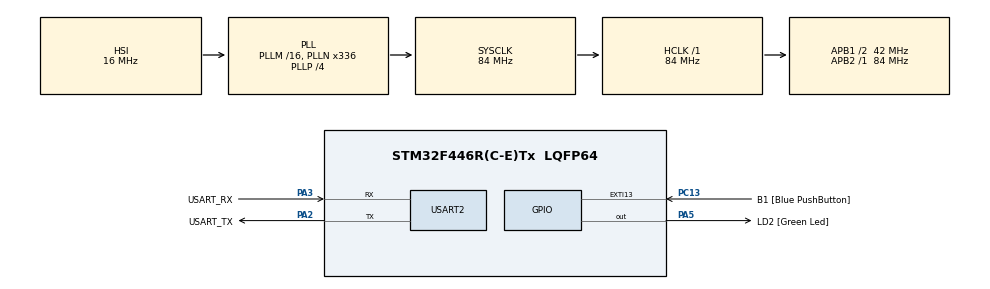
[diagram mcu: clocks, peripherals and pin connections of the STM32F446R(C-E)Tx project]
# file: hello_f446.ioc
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Mcu.Family=STM32F4
Mcu.Name=STM32F446R(C-E)Tx
Mcu.Package=LQFP64
NVIC.EXTI15_10_IRQn=true\:6\:0\:true\:false\:true\:true\:true\:true
NVIC.PriorityGroup=NVIC_PRIORITYGROUP_4
PA13.GPIO_Label=TMS
PA13.Signal=SYS_JTMS-SWDIO
PA14.GPIO_Label=TCK
PA14.Signal=SYS_JTCK-SWCLK
PA2.GPIO_Label=USART_TX
PA2.Mode=Asynchronous
PA2.Signal=USART2_TX
PA3.GPIO_Label=USART_RX
PA3.Mode=Asynchronous
PA3.Signal=USART2_RX
PA5.GPIO_Label=LD2 [Green Led]
PA5.Signal=GPIO_Output
PB3.GPIO_Label=SWO
PB3.Signal=SYS_JTDO-SWO
PC13.GPIO_Label=B1 [Blue PushButton]
PC13.GPIO_ModeDefaultEXTI=GPIO_MODE_IT_FALLING
PC13.Signal=GPXTI13
PC14-OSC32_IN.Signal=RCC_OSC32_IN
PC15-OSC32_OUT.Signal=RCC_OSC32_OUT
PH0-OSC_IN.Signal=RCC_OSC_IN
PH1-OSC_OUT.Signal=RCC_OSC_OUT
ProjectManager.HeapSize=0x200
ProjectManager.StackSize=0x400
ProjectManager.TargetToolchain=STM32CubeIDE
RCC.AHBFreq_Value=84000000
RCC.APB1CLKDivider=RCC_HCLK_DIV2
RCC.APB1Freq_Value=42000000
RCC.APB1TimFreq_Value=84000000
RCC.APB2Freq_Value=84000000
RCC.APB2TimFreq_Value=84000000
RCC.CortexFreq_Value=84000000
RCC.FLatency-AdvancedSettings=FLASH_LATENCY_2
RCC.HCLKFreq_Value=84000000
RCC.HSE_VALUE=8000000
RCC.HSI_VALUE=16000000
RCC.LSE_VALUE=32768
RCC.PLLN=336
RCC.PLLP=RCC_PLLP_DIV4
RCC.SYSCLKFreq_VALUE=84000000
RCC.SYSCLKSource=RCC_SYSCLKSOURCE_PLLCLK
RCC.USBFreq_Value=168000000
RCC.VCOOutputFreq_Value=336000000
USART2.VirtualMode=VM_ASYNC
board=NUCLEO-F446RE

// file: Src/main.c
/* USER CODE BEGIN Header */
/**
  ******************************************************************************
  * @file           : main.c
  * @brief          : Main program body
  ******************************************************************************
  * @attention
  *
  * Copyright (c) 2026 STMicroelectronics.
  * All rights reserved.
  *
  * This software is licensed under terms that can be found in the LICENSE file
  * in the root directory of this software component.
  * If no LICENSE file comes with this software, it is provided AS-IS.
  *
  ******************************************************************************
  */
/* USER CODE END Header */
#include "main.h"
#include "usart.h"
#include "gpio.h"

/* USER CODE BEGIN Includes */
#include <stdio.h>
/* USER CODE END Includes */

/* USER CODE BEGIN PD */
#define HEARTBEAT_PERIOD_MS	(1000U)
/* USER CODE END PD */

/* USER CODE BEGIN PV */
static volatile uint32_t g_b1_edge_count = 0U;
/* USER CODE END PV */

void SystemClock_Config(void);

/* USER CODE BEGIN 0 */
int _write(int file, char *ptr, int len)
{
	(void)file;
	HAL_UART_Transmit(&huart2, (uint8_t *)ptr, (uint16_t)len, HAL_MAX_DELAY);
	return len;
}
/* USER CODE END 0 */

int main(void)
{

  /* MCU Configuration--------------------------------------------------------*/

  /* Reset of all peripherals, Initializes the Flash interface and the Systick. */
  HAL_Init();

  /* Configure the system clock */
  SystemClock_Config();

  /* Initialize all configured peripherals */
  MX_GPIO_Init();
  MX_USART2_UART_Init();
  /* USER CODE BEGIN 2 */
  setvbuf(stdout, NULL, _IONBF, 0);
  printf("\r\nHello, NUCLEO-F446RE! SYSCLK = %lu Hz\r\n", HAL_RCC_GetSysClockFreq());
  /* USER CODE END 2 */

  /* Infinite loop */
  /* USER CODE BEGIN WHILE */
  uint32_t last_edge_count		= 0U;
  uint32_t last_heartbeat_ms	= HAL_GetTick();
  while (1)
  {
    /* USER CODE END WHILE */

    /* USER CODE BEGIN 3 */
    const uint32_t edge_count = g_b1_edge_count;
    if (edge_count != last_edge_count)
    {
    	printf("B1 edges total=%lu (+%lu)\r\n",
    			(unsigned long)edge_count,
				(unsigned long)(edge_count - last_edge_count));
    	last_edge_count = edge_count;
    	HAL_GPIO_TogglePin(LD2_GPIO_Port, LD2_Pin);
    }

    const uint32_t now_ms = HAL_GetTick();
    if ((now_ms - last_heartbeat_ms) >= HEARTBEAT_PERIOD_MS)
    {
    	last_heartbeat_ms = now_ms;
    	printf("tick %lu ms\r\n", (unsigned long)now_ms);
    }
  }
  /* USER CODE END 3 */
}

void SystemClock_Config(void)
{
  RCC_OscInitTypeDef RCC_OscInitStruct = {0};
  RCC_ClkInitTypeDef RCC_ClkInitStruct = {0};

  /** Configure the main internal regulator output voltage
  */
  __HAL_RCC_PWR_CLK_ENABLE();
  __HAL_PWR_VOLTAGESCALING_CONFIG(PWR_REGULATOR_VOLTAGE_SCALE3);

  /** Initializes the RCC Oscillators according to the specified parameters
  * in the RCC_OscInitTypeDef structure.
  */
  RCC_OscInitStruct.OscillatorType = RCC_OSCILLATORTYPE_HSI;
  RCC_OscInitStruct.HSIState = RCC_HSI_ON;
  RCC_OscInitStruct.HSICalibrationValue = RCC_HSICALIBRATION_DEFAULT;
  RCC_OscInitStruct.PLL.PLLState = RCC_PLL_ON;
  RCC_OscInitStruct.PLL.PLLSource = RCC_PLLSOURCE_HSI;
  RCC_OscInitStruct.PLL.PLLM = 16;
  RCC_OscInitStruct.PLL.PLLN = 336;
  RCC_OscInitStruct.PLL.PLLP = RCC_PLLP_DIV4;
  RCC_OscInitStruct.PLL.PLLQ = 2;
  RCC_OscInitStruct.PLL.PLLR = 2;
  if (HAL_RCC_OscConfig(&RCC_OscInitStruct) != HAL_OK)
  {
    Error_Handler();
  }

  /** Initializes the CPU, AHB and APB buses clocks
  */
  RCC_ClkInitStruct.ClockType = RCC_CLOCKTYPE_HCLK|RCC_CLOCKTYPE_SYSCLK
                              |RCC_CLOCKTYPE_PCLK1|RCC_CLOCKTYPE_PCLK2;
  RCC_ClkInitStruct.SYSCLKSource = RCC_SYSCLKSOURCE_PLLCLK;
  RCC_ClkInitStruct.AHBCLKDivider = RCC_SYSCLK_DIV1;
  RCC_ClkInitStruct.APB1CLKDivider = RCC_HCLK_DIV2;
  RCC_ClkInitStruct.APB2CLKDivider = RCC_HCLK_DIV1;

  if (HAL_RCC_ClockConfig(&RCC_ClkInitStruct, FLASH_LATENCY_2) != HAL_OK)
  {
    Error_Handler();
  }
}

/* USER CODE BEGIN 4 */
void HAL_GPIO_EXTI_Callback(uint16_t GPIO_Pin)
{
	if (GPIO_Pin == B1_Pin)
	{
		g_b1_edge_count++;
	}
}
/* USER CODE END 4 */

void Error_Handler(void)
{
  __disable_irq();
  while (1)
  {
  }
}
